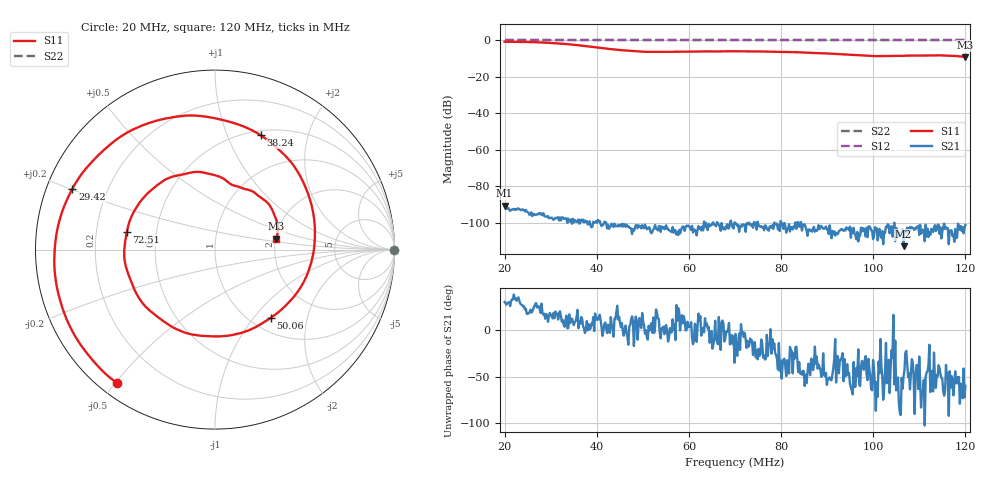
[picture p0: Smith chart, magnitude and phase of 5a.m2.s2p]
! Anritsu VNA Master:  Model: MS2036C/10/77
! SN:  1601066
! /card0/usr/18may27.balun/5a..m2.s2p
! Existing Calibration Information:
! TYPE:  Current Settings,  Active Cal Settings
! TIME:  05/27/2018 05:03:26 PM,  05/27/2018 04:42:15 PM
! INTERNAL TEMP:  53.5 C,  52.0 C
! # POINTS:  500,  500
! START FREQ:  20.000 MHz,  20.000 MHz
! STOP FREQ:  120.000 MHz,  120.000 MHz
! SOURCE POWER:  High,  High
! IFBW:  50 Hz,  50 Hz
! AVG FACTOR:  1 ,  1
! REF PLANE 1:  0 mm,  0 mm
! REF PLANE 2:  0 mm,  0 mm
! CAL TYPE:  Full S11,  Full S11
! CAL METHOD:  SOLT,  SOLT
! CAL LINE TYPE:  Coax,  Coax
! DUT PORT 1:  K-Conn(M),  K-Conn(M)
! DUT PORT 2:  K-Conn(M),  K-Conn(M)
! CAL STATUS:  OK: Accuracy High,  --
# GHZ S DB R 50.0
! FREQ.GHZ  S11DB  S11A  S21DB  S21A  S12DB  S12A  S22DB  S22A
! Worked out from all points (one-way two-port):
!   500 points, 20 MHz to 120 MHz, reference 50 ohm
!   highest |S21| = -90.61 dB at 20 MHz (marker M1); lowest = -112.8 dB at 106.6 MHz (marker M2)
!   lowest |S11| = -9.2 dB at 120 MHz (marker M3), VSWR 2.07, Z = 101 + j14 ohm
!   |S11| at or under -10 dB: nowhere
!   |S22| runs from 0.0 to 0.0 dB; largest |S21 - S12| = 1
!   S11 on the Smith chart (normalised r, x): 20 MHz: 0.05, -0.51; 29.42 MHz: 0.08, +0.20; 38.24 MHz: 0.55, +1.33; 50.06 MHz: 1.22, -1.23; 72.51 MHz: 0.34, +0.09; 120 MHz: 2.01, +0.28
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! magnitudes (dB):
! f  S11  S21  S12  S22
! 20 MHz  -0.7  -90.6  0.0  0.0
! 25.61 MHz  -0.9  -95.2  0.0  0.0
! 29.42 MHz  -1.3  -96.3  0.0  0.0
! 32.83 MHz  -1.8  -97.7  0.0  0.0
! 36.83 MHz  -2.9  -99.3  0.0  0.0
! 38.24 MHz  -3.3  -100.6  0.0  0.0
! 44.25 MHz  -5.1  -101.8  0.0  0.0
! 50.06 MHz  -6.2  -102.6  0.0  0.0
! 53.47 MHz  -6.3  -101.9  0.0  0.0
! 70.1 MHz  -5.9  -100.2  0.0  0.0
! 72.51 MHz  -6.0  -100.4  0.0  0.0
! 75.31 MHz  -6.0  -101.7  0.0  0.0
! 82.73 MHz  -6.4  -102.0  0.0  0.0
! 86.73 MHz  -6.9  -104.8  0.0  0.0
! 89.94 MHz  -7.1  -103.7  0.0  0.0
! 99.36 MHz  -8.5  -102.5  0.0  0.0
! 103.4 MHz  -8.5  -101.5  0.0  0.0
! 106.6 MHz  -8.4  -112.8  0.0  0.0
! 108.4 MHz  -8.3  -102.4  0.0  0.0
! 114.2 MHz  -8.2  -101.1  0.0  0.0
! 118 MHz  -8.5  -108.4  0.0  0.0
! 120 MHz  -9.2  -101.2  0.0  0.0
